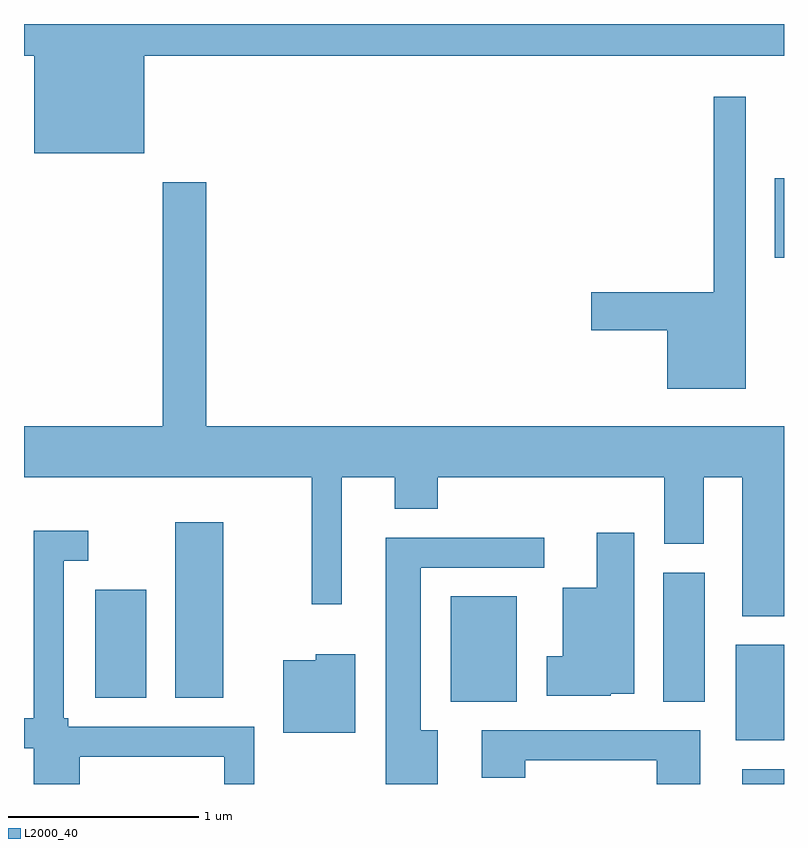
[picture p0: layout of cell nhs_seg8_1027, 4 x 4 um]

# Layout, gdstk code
import gdstk
lib = gdstk.Library(unit=1e-6, precision=1e-09)
def R(c, l, rs):  # rectangles x0, y0, x1, y1
    for r in rs: c.add(gdstk.rectangle(r[:2], r[2:], *l))
def P(c, l, *ps):  # polygons
    for p in ps: c.add(gdstk.Polygon(p, *l))
L2000_40 = (2000, 40)

nhs_seg8_1027 = lib.new_cell('nhs_seg8_1027')
R(nhs_seg8_1027, L2000_40, [(219.391,1850.342,219.611,1850.419), (219.356,1850.571,219.611,1851.074), (217.856,1850.776,218.204,1851.329), (218.976,1850.776,219.194,1851.454), (215.986,1850.796,216.254,1851.364), (216.406,1850.796,216.659,1851.719), (219.561,1853.111,219.611,1853.529)])
P(nhs_seg8_1027, L2000_40, [(216.244,1854.176),(219.611,1854.176),(219.611,1854.342),(215.611,1854.342),(215.611,1854.176),(215.666,1854.176),(215.666,1853.661),(216.244,1853.661)],
  [(219.409,1853.958),(219.241,1853.958),(219.241,1852.929),(218.596,1852.929),(218.596,1852.731),(218.996,1852.731),(218.996,1852.421),(219.409,1852.421)],
  [(219.611,1852.224),(216.569,1852.224),(216.569,1853.509),(216.341,1853.509),(216.341,1852.224),(215.611,1852.224),(215.611,1851.956),(217.126,1851.956),(217.126,1851.288),(217.284,1851.288),(217.284,1851.956),(217.561,1851.956),(217.561,1851.791),(217.789,1851.791),(217.789,1851.956),(218.981,1851.956),(218.981,1851.606),(219.189,1851.606),(219.189,1851.956),(219.391,1851.956),(219.391,1851.226),(219.611,1851.226)],
  [(215.904,1850.486),(216.666,1850.486),(216.666,1850.342),(216.824,1850.342),(216.824,1850.644),(215.844,1850.644),(215.844,1850.689),(215.819,1850.689),(215.819,1851.516),(215.948,1851.516),(215.948,1851.674),(215.661,1851.674),(215.661,1850.689),(215.611,1850.689),(215.611,1850.531),(215.661,1850.531),(215.661,1850.342),(215.904,1850.342)],
  [(218.7,1850.816),(218.824,1850.816),(218.824,1851.664),(218.626,1851.664),(218.626,1851.374),(218.446,1851.374),(218.446,1851.014),(218.361,1851.014),(218.361,1850.806),(218.7,1850.806)],
  [(217.789,1850.624),(217.699,1850.624),(217.699,1851.481),(218.348,1851.481),(218.348,1851.639),(217.516,1851.639),(217.516,1850.342),(217.789,1850.342)],
  [(217.354,1851.024),(217.146,1851.024),(217.146,1850.994),(216.976,1850.994),(216.976,1850.611),(217.354,1850.611)],
  [(219.169,1850.624),(218.021,1850.624),(218.021,1850.376),(218.249,1850.376),(218.249,1850.466),(218.941,1850.466),(218.941,1850.342),(219.169,1850.342)])

lib.write_gds('nhs_seg8_1027.gds')
